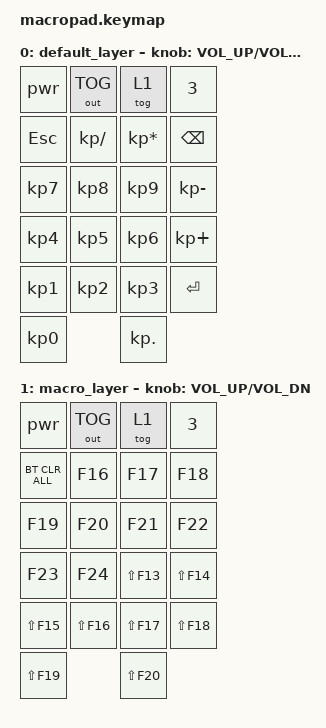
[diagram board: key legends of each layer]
#include <behaviors.dtsi>
#include <dt-bindings/zmk/keys.h>
#include <dt-bindings/zmk/bt.h>
#include <dt-bindings/zmk/outputs.h>

/ {
    behaviors {
        pwr: pwr_tap_dance {
            compatible = "zmk,behavior-tap-dance";
            #binding-cells = <0>;
            tapping-term-ms = <500>;
            bindings = <&none>, <&soft_off>;
        };
    };

    keymap {
        compatible = "zmk,keymap";

        // LAYER 0 — NUMPAD
        default_layer {
            bindings = <
                // Row 0: soft-off (hold) | USB/BLE toggle | switch to macro layer | encoder N3
                &pwr             &out OUT_TOG     &tog 1            &kp N3

                // Row 1
                &kp ESC          &kp KP_SLASH     &kp KP_ASTERISK   &kp BACKSPACE

                // Row 2
                &kp KP_N7        &kp KP_N8        &kp KP_N9         &kp KP_MINUS

                // Row 3
                &kp KP_N4        &kp KP_N5        &kp KP_N6         &kp KP_PLUS

                // Row 4
                &kp KP_N1        &kp KP_N2        &kp KP_N3         &kp ENTER

                // Row 5 (only positions 0 and 2 active)
                &kp KP_N0                         &kp KP_DOT
            >;

            sensor-bindings = <&inc_dec_kp C_VOL_UP C_VOL_DN>;
        };

        // LAYER 1 — MACRO PAD (with controls on row 0)
        macro_layer {
            bindings = <
                // Row 0: soft-off (hold) | USB/BLE toggle | back to numpad | encoder N3
                &pwr             &out OUT_TOG     &tog 1            &kp N3

                // Row 1: F15–F18
                &bt BT_CLR_ALL   &kp F16          &kp F17           &kp F18

                // Row 2: F19–F22
                &kp F19          &kp F20          &kp F21           &kp F22

                // Row 3: F23–F24, then Shift+F13, Shift+F14
                &kp F23          &kp F24          &kp LS(F13)       &kp LS(F14)

                // Row 4: Shift+F15 to Shift+F18
                &kp LS(F15)      &kp LS(F16)      &kp LS(F17)       &kp LS(F18)

                // Row 5: Shift+F19, Shift+F20
                &kp LS(F19)                       &kp LS(F20)
            >;

            sensor-bindings = <&inc_dec_kp C_VOL_UP C_VOL_DN>;
        };
    };
};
